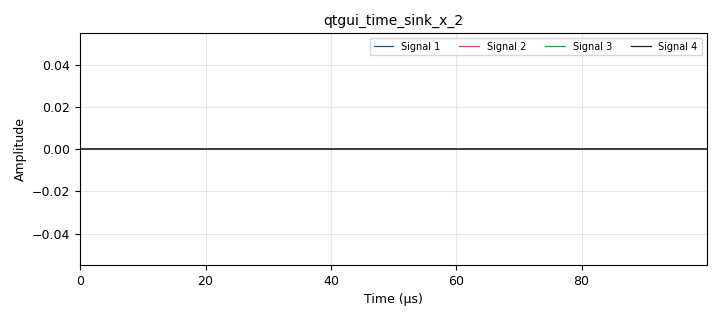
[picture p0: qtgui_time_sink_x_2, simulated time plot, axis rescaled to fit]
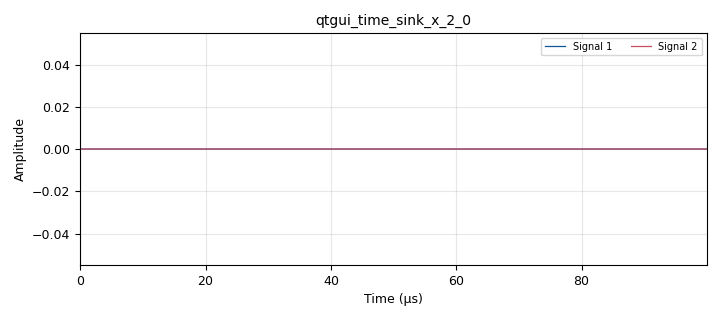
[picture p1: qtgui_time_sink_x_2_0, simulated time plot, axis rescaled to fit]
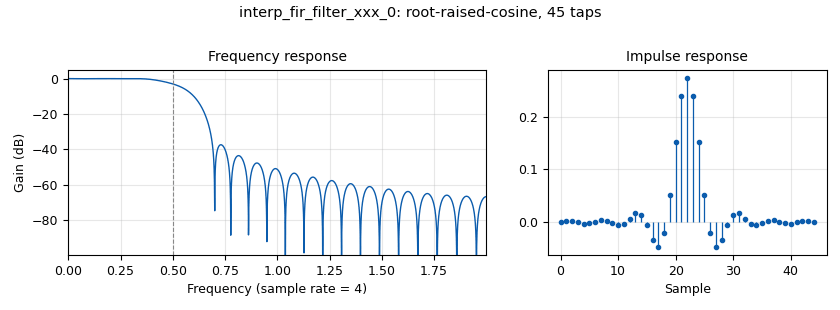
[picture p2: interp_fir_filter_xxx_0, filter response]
options:
  parameters:
    author: Fernando
    generate_options: qt_gui
    id: radar_pulsado
    output_language: python
    title: Radar de compresión de pulso
  states: {}

blocks:
- name: C
  id: variable
  parameters:
    comment: Velocidad de la luz (m/s)
    value: 3e8
  states: {}
- name: T
  id: variable
  parameters:
    comment: Temperatura (K)
    value: '300'
  states: {}
- name: amplitud_sincronismo
  id: variable
  parameters:
    value: '1e-6'
  states: {}
- name: atenuacion
  id: variable
  parameters:
    value: 10**((g_ant_rx+g_ant_tx)/10)/((4*np.pi)**3*(distancia*1000)**4)
  states: {}
- name: butter_antialias
  id: variable
  parameters:
    comment: |-
      Filtro antialias
      Butterworth LP (normalizado)
      fp = 0.1
      fs = 0.2
      IL_max[dB] = 1
      Att_min[dB] = 60
    value: scipy.signal.butter(*scipy.signal.buttord(0.1,0.2,1,60),'lowpass',output='ba')
  states: {}
- name: butter_fc
  id: variable
  parameters:
    comment: |-
      Fc
      Butterworth BP (fs = samp_rate)
      fs1 = fc-1.5e6
      fp1 = fc-0.5e6
      fp2 = fc+0.5e6
      fs2 = fc+1.5e6
      IL_max[dB] = 1
      Att_min[dB] = 60
    value: scipy.signal.butter(*scipy.signal.buttord([fc-0.5e6,fc+0.5e6],[fc-1.5e6,fc+1.5e6],1,60,fs=samp_rate),'bandpass',output='ba',fs=samp_rate)
  states: {}
- name: clutter
  id: variable
  parameters:
    value: '[(10/(C*k/samp_rate)**5)*np.exp(1j*C*k/samp_rate*2/(6.28*C/fc)) for k in range(1,1000)]'
  states: {}
- name: codigo
  id: variable
  parameters:
    value: (1,1,1,1,1,-1,-1,1,1,-1,1,-1,1)
  states: {}
- name: codigo_rx_pulso
  id: variable
  parameters:
    value: '[codigo[k//sps_rx] if k%sps_rx==0 else 0 for k in range(len(codigo)*sps_rx)]'
  states: {}
- name: delay_muestras
  id: variable
  parameters:
    value: int(distancia*1000/C*samp_rate)
  states: {}
- name: distancia
  id: variable_qtgui_range
  parameters:
    label: Distancia al blanco [km]
    start: '0.01'
    step: '.01'
    stop: distancia_max
    value: '1'
  states: {}
- name: distancia_max
  id: variable
  parameters:
    comment: Distancia maxima (ventana escucha, km)
    value: '30'
  states: {}
- name: doppler_shift
  id: variable
  parameters:
    value: fc*(velocidad/C)
  states: {}
- name: fase_blanco
  id: variable
  parameters:
    comment: Fase de la señal reflejada por blanco (rad)
    value: distancia*2/(6.28*C/fc)
  states: {}
- name: fc
  id: variable
  parameters:
    value: 5e6
  states: {}
- name: g_ant_rx
  id: variable
  parameters:
    value: '60'
  states: {}
- name: g_ant_tx
  id: variable
  parameters:
    value: '60'
  states: {}
- name: ganancia_rx
  id: variable_qtgui_range
  parameters:
    label: Ganancia receptor dB
    start: '0'
    step: '1'
    stop: '100'
    value: '50'
  states: {}
- name: kb
  id: variable
  parameters:
    comment: Constante de Boltzmann (J/K)
    value: '1.380649e-23'
  states: {}
- name: muestras_completas
  id: variable
  parameters:
    value: samp_rate//prr-(samp_rate//prr)%sps
  states: {}
- name: potencia
  id: variable
  parameters:
    comment: Potencia transmisor (W)
    value: '500'
  states: {}
- name: prr
  id: variable
  parameters:
    comment: Tasa de repetición de pulsos [Hz]
    value: '120'
  states: {}
- name: rrc_rx
  id: variable_rrc_filter_taps
  parameters:
    alpha: '0.35'
    gain: '1.0'
    ntaps: 11*sps_rx
    samp_rate: sps_rx
    sym_rate: '1'
  states: {}
- name: rrc_taps
  id: variable_rrc_filter_taps
  parameters:
    alpha: '0.35'
    gain: '1.0'
    ntaps: 11*sps
    samp_rate: sps
    sym_rate: '1'
  states: {}
- name: samp_rate
  id: variable
  parameters:
    value: '20000000'
  states: {}
- name: samp_rate_rx
  id: variable
  parameters:
    value: '4000000'
  states: {}
- name: sps
  id: variable
  parameters:
    value: '20'
  states: {}
- name: sps_rx
  id: variable
  parameters:
    value: sps*samp_rate_rx//samp_rate
  states: {}
- name: taps_correlacion
  id: variable
  parameters:
    value: np.convolve(codigo_rx_pulso[::-1],rrc_rx,'full')
  states: {}
- name: tiempo_guarda
  id: variable
  parameters:
    value: tiempo_tx
  states: {}
- name: tiempo_rx
  id: variable
  parameters:
    value: distancia_max*1000*2/C-tiempo_guarda
  states: {}
- name: tiempo_tx
  id: variable
  parameters:
    value: len(codigo)*sps/samp_rate
  states: {}
- name: velocidad
  id: variable_qtgui_range
  parameters:
    label: Velocidad radial (m/s)
    start: '-100'
    step: '1'
    stop: '100'
    value: '0'
  states: {}
- name: analog_sig_source_x_0
  id: analog_sig_source_x
  parameters:
    amp: '1'
    comment: Fc
    freq: fc
    offset: '0'
    phase: '0'
    samp_rate: samp_rate
    type: float
    waveform: analog.GR_COS_WAVE
  states: {}
- name: analog_sig_source_x_0_0
  id: analog_sig_source_x
  parameters:
    amp: '1'
    comment: Fc
    freq: fc
    offset: '0'
    phase: '0'
    samp_rate: samp_rate
    type: complex
    waveform: analog.GR_COS_WAVE
  states: {}
- name: blocks_add_xx_0
  id: blocks_add_xx
  parameters:
    type: float
  states: {}
- name: blocks_complex_to_magphase_0
  id: blocks_complex_to_magphase
  parameters: {}
  states: {}
- name: blocks_complex_to_real_0
  id: blocks_complex_to_real
  parameters: {}
  states: {}
- name: blocks_complex_to_real_0_0
  id: blocks_complex_to_real
  parameters: {}
  states: {}
- name: blocks_delay_0
  id: blocks_delay
  parameters:
    delay: delay_muestras
    type: float
  states: {}
- name: blocks_float_to_complex_0
  id: blocks_float_to_complex
  parameters: {}
  states: {}
- name: blocks_float_to_complex_0_0
  id: blocks_float_to_complex
  parameters: {}
  states: {}
- name: blocks_float_to_complex_0_1
  id: blocks_float_to_complex
  parameters: {}
  states: {}
- name: blocks_multiply_conjugate_cc_0
  id: blocks_multiply_conjugate_cc
  parameters:
    comment: |-
      Mixer x 2 (I,Q)
      (parte imaginaria in0 es 0)
  states: {}
- name: blocks_multiply_const_vxx_0
  id: blocks_multiply_const_vxx
  parameters:
    const: atenuacion*10
    type: float
  states: {}
- name: blocks_multiply_const_vxx_1
  id: blocks_multiply_const_vxx
  parameters:
    const: (potencia*50)**.5
    type: float
  states: {}
- name: blocks_multiply_const_vxx_2
  id: blocks_multiply_const_vxx
  parameters:
    const: 10**(ganancia_rx/20)
    type: float
  states: {}
- name: blocks_multiply_const_vxx_3
  id: blocks_multiply_const_vxx
  parameters:
    const: '0'
    type: float
  states: {state: disabled}
- name: blocks_multiply_xx_0
  id: blocks_multiply_xx
  parameters:
    comment: Mixer
    type: float
  states: {}
- name: blocks_multiply_xx_1
  id: blocks_multiply_xx
  parameters:
    comment: switch antena rx
    type: float
  states: {}
- name: blocks_null_sink_0
  id: blocks_null_sink
  parameters:
    type: float
  states: {}
- name: blocks_repeat_0
  id: blocks_repeat
  parameters:
    interp: sps//sps_rx
    type: float
  states: {}
- name: blocks_repeat_1
  id: blocks_repeat
  parameters:
    interp: sps//sps_rx
    type: float
  states: {}
- name: blocks_throttle_0
  id: blocks_throttle
  parameters:
    samples_per_second: samp_rate
    type: float
  states: {}
- name: blocks_vector_source_x_0
  id: blocks_vector_source_x
  parameters:
    repeat: 'True'
    type: float
    vector: codigo+(0,)*int(muestras_completas//sps-len(codigo))
  states: {}
- name: blocks_vector_source_x_1
  id: blocks_vector_source_x
  parameters:
    comment: 1 para rx abierto
    repeat: 'True'
    type: float
    vector: (0,)*int((tiempo_tx+tiempo_guarda)*samp_rate)+(1,)*int(tiempo_rx*samp_rate)+(0,)*(muestras_completas-int((tiempo_tx+tiempo_guarda)*samp_rate)-int(tiempo_rx*samp_rate))
  states: {}
- name: blocks_vector_source_x_1_0
  id: blocks_vector_source_x
  parameters:
    comment: |-
      pulso de sincronismo
      negativo al inicio de tx
      positivo al inicio de ventana de escucha
      samp_rate_tx
    repeat: 'True'
    type: float
    vector: (-amplitud_sincronismo,)+(0,)*(int((tiempo_tx+tiempo_guarda)*samp_rate_rx)-1)+(amplitud_sincronismo,)+(0,)*((muestras_completas*sps_rx)//sps-int((tiempo_tx+tiempo_guarda)*samp_rate_rx)-1)
  states: {}
- name: channels_channel_model_0
  id: channels_channel_model
  parameters:
    block_tags: 'True'
    epsilon: 1.0+doppler_shift/samp_rate
    freq_offset: '0.0'
    noise_voltage: '0.0'
    seed: '0'
    taps: np.exp(1j*fase_blanco)
  states: {}
- name: channels_channel_model_0_0
  id: channels_channel_model
  parameters:
    block_tags: 'True'
    comment: Clutter estático
    epsilon: '1.0'
    freq_offset: '0.0'
    noise_voltage: '0.0'
    seed: '0'
    taps: np.array(clutter)
  states: {}
- name: fir_filter_xxx_0
  id: fir_filter_xxx
  parameters:
    comment: Fs samp_rate_rx
    decim: samp_rate//samp_rate_rx
    taps: '[1]'
    type: ccf
  states: {}
- name: iir_filter_xxx_0
  id: iir_filter_xxx
  parameters:
    fbtaps: butter_fc[1]
    fftaps: butter_fc[0]
    oldstyle: 'False'
    type: ffd
  states: {}
- name: iir_filter_xxx_1
  id: iir_filter_xxx
  parameters:
    comment: Filtro RF
    fbtaps: butter_fc[1]
    fftaps: butter_fc[0]
    oldstyle: 'False'
    type: ffd
  states: {}
- name: iir_filter_xxx_1_0
  id: iir_filter_xxx
  parameters:
    fbtaps: butter_antialias[1]
    fftaps: butter_antialias[0]
    oldstyle: 'False'
    type: ccd
  states: {}
- name: import_0
  id: import
  parameters:
    imports: import numpy as np
  states: {}
- name: import_0_0
  id: import
  parameters:
    imports: import scipy.signal
  states: {}
- name: interp_fir_filter_xxx_0
  id: interp_fir_filter_xxx
  parameters:
    interp: sps_rx
    taps: rrc_rx
    type: fff
  states: {}
- name: interp_fir_filter_xxx_1
  id: interp_fir_filter_xxx
  parameters:
    comment: Filtro correlación
    interp: '1'
    taps: taps_correlacion
    type: ccf
  states: {}
- name: qtgui_time_sink_x_0
  id: qtgui_time_sink_x
  parameters:
    autoscale: 'True'
    label1: Correlación (amplitud)
    label2: Ref
    nconnections: '2'
    size: int(round(distancia_max*1000/C*samp_rate_rx))
    srate: samp_rate_rx
    tr_chan: '1'
    tr_level: amplitud_sincronismo/2
    tr_mode: qtgui.TRIG_MODE_NORM
    type: float
  states: {}
- name: qtgui_time_sink_x_0_0
  id: qtgui_time_sink_x
  parameters:
    label1: Correlación (fase)
    label2: Ref
    nconnections: '2'
    size: int(round(distancia_max*1000/C*samp_rate_rx))
    srate: samp_rate_rx
    tr_chan: '1'
    tr_level: amplitud_sincronismo/2
    tr_mode: qtgui.TRIG_MODE_NORM
    type: float
    ylabel: Fase
    ymax: np.pi
    ymin: '-np.pi'
  states: {}
- name: qtgui_time_sink_x_2
  id: qtgui_time_sink_x
  parameters:
    nconnections: '4'
    size: int(round(distancia_max*1000/C*samp_rate))
    srate: samp_rate
    tr_chan: '1'
    tr_level: '0'
    tr_mode: qtgui.TRIG_MODE_AUTO
    type: float
  states: {}
- name: qtgui_time_sink_x_2_0
  id: qtgui_time_sink_x
  parameters:
    nconnections: '2'
    size: int(round(distancia_max*1000/C*samp_rate))
    srate: samp_rate
    tr_chan: '1'
    tr_level: '-amplitud_sincronismo/2'
    tr_mode: qtgui.TRIG_MODE_AUTO
    tr_slope: qtgui.TRIG_SLOPE_NEG
    type: float
  states: {}
- name: virtual_sink_0
  id: virtual_sink
  parameters:
    stream_id: salida_tx
  states: {}
- name: virtual_sink_1
  id: virtual_sink
  parameters:
    stream_id: rx_clutter
  states: {}
- name: virtual_sink_1_0
  id: virtual_sink
  parameters:
    stream_id: entrada_rx
  states: {}
- name: virtual_sink_2
  id: virtual_sink
  parameters:
    stream_id: rx_bb_digital
  states: {}
- name: virtual_sink_3
  id: virtual_sink
  parameters:
    stream_id: rx_blanco
  states: {}
- name: virtual_sink_4
  id: virtual_sink
  parameters:
    stream_id: gen_codigo
  states: {}
- name: virtual_sink_5
  id: virtual_sink
  parameters:
    stream_id: codigo_dac
  states: {}
- name: virtual_sink_5_0
  id: virtual_sink
  parameters:
    stream_id: codigo_bp
  states: {}
- name: virtual_sink_6
  id: virtual_sink
  parameters:
    stream_id: gate_rx
  states: {}
- name: virtual_sink_6_0
  id: virtual_sink
  parameters:
    stream_id: post_gate_rx
  states: {}
- name: virtual_source_0
  id: virtual_source
  parameters:
    stream_id: salida_tx
  states: {}
- name: virtual_source_1
  id: virtual_source
  parameters:
    stream_id: salida_tx
  states: {}
- name: virtual_source_2
  id: virtual_source
  parameters:
    stream_id: rx_blanco
  states: {}
- name: virtual_source_2_0
  id: virtual_source
  parameters:
    stream_id: rx_clutter
  states: {}
- name: virtual_source_3
  id: virtual_source
  parameters:
    stream_id: entrada_rx
  states: {}
- name: virtual_source_4
  id: virtual_source
  parameters:
    stream_id: rx_bb_digital
  states: {}
- name: virtual_source_5
  id: virtual_source
  parameters:
    stream_id: gate_rx
  states: {}
- name: virtual_source_6
  id: virtual_source
  parameters:
    stream_id: codigo_dac
  states: {}
- name: virtual_source_6_0
  id: virtual_source
  parameters:
    stream_id: codigo_bp
  states: {}
- name: virtual_source_6_0_0
  id: virtual_source
  parameters:
    stream_id: post_gate_rx
  states: {}
- name: virtual_source_6_1
  id: virtual_source
  parameters:
    stream_id: entrada_rx
  states: {}

connections:
- [analog_sig_source_x_0, '0', blocks_multiply_xx_0, '1']
- [analog_sig_source_x_0_0, '0', blocks_multiply_conjugate_cc_0, '1']
- [blocks_add_xx_0, '0', virtual_sink_1_0, '0']
- [blocks_complex_to_magphase_0, '0', blocks_null_sink_0, '0']
- [blocks_complex_to_magphase_0, '0', qtgui_time_sink_x_0, '0']
- [blocks_complex_to_magphase_0, '1', qtgui_time_sink_x_0_0, '0']
- [blocks_complex_to_real_0, '0', virtual_sink_3, '0']
- [blocks_complex_to_real_0_0, '0', virtual_sink_1, '0']
- [blocks_delay_0, '0', blocks_multiply_const_vxx_0, '0']
- [blocks_float_to_complex_0, '0', channels_channel_model_0, '0']
- [blocks_float_to_complex_0_0, '0', channels_channel_model_0_0, '0']
- [blocks_float_to_complex_0_1, '0', blocks_multiply_conjugate_cc_0, '0']
- [blocks_multiply_conjugate_cc_0, '0', iir_filter_xxx_1_0, '0']
- [blocks_multiply_const_vxx_0, '0', blocks_float_to_complex_0, '0']
- [blocks_multiply_const_vxx_1, '0', virtual_sink_0, '0']
- [blocks_multiply_const_vxx_2, '0', blocks_float_to_complex_0_1, '0']
- [blocks_multiply_const_vxx_3, '0', virtual_sink_1, '0']
- [blocks_multiply_xx_0, '0', iir_filter_xxx_0, '0']
- [blocks_multiply_xx_1, '0', iir_filter_xxx_1, '0']
- [blocks_multiply_xx_1, '0', virtual_sink_6_0, '0']
- [blocks_repeat_0, '0', blocks_throttle_0, '0']
- [blocks_repeat_1, '0', qtgui_time_sink_x_2_0, '1']
- [blocks_throttle_0, '0', blocks_multiply_xx_0, '0']
- [blocks_throttle_0, '0', virtual_sink_5, '0']
- [blocks_vector_source_x_0, '0', interp_fir_filter_xxx_0, '0']
- [blocks_vector_source_x_0, '0', virtual_sink_4, '0']
- [blocks_vector_source_x_1, '0', blocks_multiply_xx_1, '1']
- [blocks_vector_source_x_1, '0', virtual_sink_6, '0']
- [blocks_vector_source_x_1_0, '0', blocks_repeat_1, '0']
- [blocks_vector_source_x_1_0, '0', qtgui_time_sink_x_0, '1']
- [blocks_vector_source_x_1_0, '0', qtgui_time_sink_x_0_0, '1']
- [channels_channel_model_0, '0', blocks_complex_to_real_0, '0']
- [channels_channel_model_0_0, '0', blocks_complex_to_real_0_0, '0']
- [fir_filter_xxx_0, '0', virtual_sink_2, '0']
- [iir_filter_xxx_0, '0', blocks_multiply_const_vxx_1, '0']
- [iir_filter_xxx_0, '0', virtual_sink_5_0, '0']
- [iir_filter_xxx_1, '0', blocks_multiply_const_vxx_2, '0']
- [iir_filter_xxx_1_0, '0', fir_filter_xxx_0, '0']
- [interp_fir_filter_xxx_0, '0', blocks_repeat_0, '0']
- [interp_fir_filter_xxx_1, '0', blocks_complex_to_magphase_0, '0']
- [virtual_source_0, '0', blocks_delay_0, '0']
- [virtual_source_1, '0', blocks_float_to_complex_0_0, '0']
- [virtual_source_1, '0', blocks_multiply_const_vxx_3, '0']
- [virtual_source_2, '0', blocks_add_xx_0, '0']
- [virtual_source_2_0, '0', blocks_add_xx_0, '1']
- [virtual_source_3, '0', blocks_multiply_xx_1, '0']
- [virtual_source_4, '0', interp_fir_filter_xxx_1, '0']
- [virtual_source_5, '0', qtgui_time_sink_x_2, '3']
- [virtual_source_6, '0', qtgui_time_sink_x_2, '1']
- [virtual_source_6_0, '0', qtgui_time_sink_x_2, '0']
- [virtual_source_6_0_0, '0', qtgui_time_sink_x_2_0, '0']
- [virtual_source_6_1, '0', qtgui_time_sink_x_2, '2']

metadata:
  file_format: 1
  grc_version: 3.10.5.0
